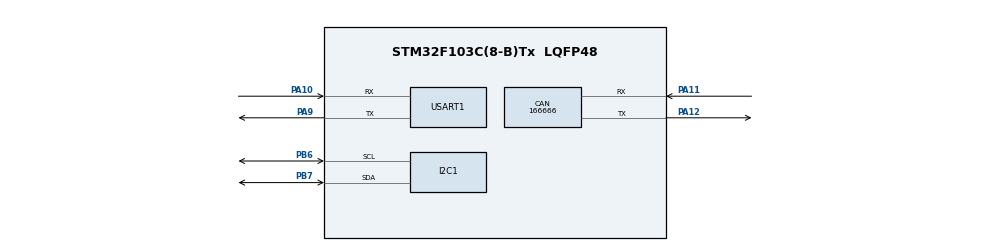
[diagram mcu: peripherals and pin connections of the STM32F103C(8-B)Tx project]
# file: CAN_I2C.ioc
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CAN.CalculateBaudRate=166666
CAN.CalculateTimeBit=6000
CAN.CalculateTimeQuantum=2000.0
Dma.Request0=USART1_TX
Dma.USART1_TX.0.Direction=DMA_MEMORY_TO_PERIPH
Dma.USART1_TX.0.Instance=DMA1_Channel4
Dma.USART1_TX.0.MemDataAlignment=DMA_MDATAALIGN_BYTE
Dma.USART1_TX.0.MemInc=DMA_MINC_ENABLE
Dma.USART1_TX.0.Mode=DMA_NORMAL
Dma.USART1_TX.0.PeriphDataAlignment=DMA_PDATAALIGN_BYTE
Dma.USART1_TX.0.PeriphInc=DMA_PINC_DISABLE
Dma.USART1_TX.0.Priority=DMA_PRIORITY_LOW
I2C1.I2C_Mode=I2C_Standard
Mcu.Family=STM32F1
Mcu.Name=STM32F103C(8-B)Tx
Mcu.Package=LQFP48
NVIC.DMA1_Channel4_IRQn=true\:0\:0\:false\:false\:true\:false\:true\:true
NVIC.PriorityGroup=NVIC_PRIORITYGROUP_4
NVIC.USART1_IRQn=true\:0\:0\:false\:false\:true\:true\:true\:true
PA10.Mode=Asynchronous
PA10.Signal=USART1_RX
PA11.Mode=CAN_Activate
PA11.Signal=CAN_RX
PA12.Mode=CAN_Activate
PA12.Signal=CAN_TX
PA13.Mode=JTAG_4_pins
PA13.Signal=SYS_JTMS-SWDIO
PA14.Mode=JTAG_4_pins
PA14.Signal=SYS_JTCK-SWCLK
PA15.Mode=JTAG_4_pins
PA15.Signal=SYS_JTDI
PA9.Mode=Asynchronous
PA9.Signal=USART1_TX
PB3.Mode=JTAG_4_pins
PB3.Signal=SYS_JTDO-TRACESWO
PB6.Mode=I2C
PB6.Signal=I2C1_SCL
PB7.Mode=I2C
PB7.Signal=I2C1_SDA
ProjectManager.HeapSize=0x200
ProjectManager.StackSize=0x400
ProjectManager.TargetToolchain=CMake
RCC.APB1Freq_Value=8000000
RCC.APB2Freq_Value=8000000
USART1.VirtualMode=VM_ASYNC
board=custom

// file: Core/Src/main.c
/* USER CODE BEGIN Header */
/**
  ******************************************************************************
  * @file           : main.c
  * @brief          : Main program body
  ******************************************************************************
  * @attention
  *
  * Copyright (c) 2026 STMicroelectronics.
  * All rights reserved.
  *
  * This software is licensed under terms that can be found in the LICENSE file
  * in the root directory of this software component.
  * If no LICENSE file comes with this software, it is provided AS-IS.
  *
  ******************************************************************************
  */
/* USER CODE END Header */
#include "main.h"

/* USER CODE BEGIN Includes */
#include "icm20948.h"
#include "stm32f1xx_hal_uart.h"
#include <stdio.h>
#include <string.h>
/* USER CODE END Includes */

CAN_HandleTypeDef hcan;

I2C_HandleTypeDef hi2c1;

UART_HandleTypeDef huart1;
DMA_HandleTypeDef hdma_usart1_tx;

void SystemClock_Config(void);
static void MX_GPIO_Init(void);
static void MX_DMA_Init(void);
static void MX_CAN_Init(void);
static void MX_I2C1_Init(void);
static void MX_USART1_UART_Init(void);
/* USER CODE BEGIN PFP */
void init_icm20948()
{
   //whoami
    uint8_t who_am_i=0x00;
    HAL_I2C_Mem_Read(
      &hi2c1,
      ICM20948_ADDR_HAL,
      ICM_REG_WHO_AM_I,
      I2C_MEMADD_SIZE_8BIT,
      &who_am_i,
      sizeof(who_am_i),
      2); //who_am_i will be 0xEA

    //reset
    uint8_t reset=ICM_PWR_DEVICE_RESET;
    HAL_I2C_Mem_Write(
      &hi2c1,
      ICM20948_ADDR_HAL,
      ICM_REG_PWR_MGMT_1,
      I2C_MEMADD_SIZE_8BIT,
      &reset,
      sizeof(reset),
      1);
    HAL_Delay(5);

    //wakeup&select tim
    uint8_t pwr=ICM_CLKSEL_AUTO;
    HAL_I2C_Mem_Write(
      &hi2c1,
      ICM20948_ADDR_HAL,
      ICM_REG_PWR_MGMT_1,
      I2C_MEMADD_SIZE_8BIT,
      &pwr,
      sizeof(pwr),
      1);
    HAL_Delay(5);

    //switch to bank2
    uint8_t bank2=ICM_BANK_2;
    HAL_I2C_Mem_Write(
      &hi2c1,
      ICM20948_ADDR_HAL,
      ICM_REG_REG_BANK_SEL,
      I2C_MEMADD_SIZE_8BIT,
      &bank2,sizeof(bank2),
      1);

    //setup gyroscope&accelerometer
    uint8_t gyro_cfg=ICM_GYRO_FS_2000DPS        // 量程 ±2000dps
         | ICM_GYRO_DLPF_BW_51HZ      // 带宽 51.2Hz
         | ICM_GYRO_FCHOICE_ENABLE;   // 启用 DLPF
    HAL_I2C_Mem_Write(
      &hi2c1,
      ICM20948_ADDR_HAL,
      ICM_REG_GYRO_CONFIG_1,
      I2C_MEMADD_SIZE_8BIT,
      &gyro_cfg,
      sizeof(gyro_cfg),
      1);
      HAL_Delay(1);
    uint8_t accel_cfg= ICM_ACCEL_FS_4G               // 量程 ±4g
          | ICM_ACCEL_DLPF_BW_50HZ        // 带宽 50.4Hz
          | ICM_ACCEL_FCHOICE_ENABLE;     // 启用 DLPF
    HAL_I2C_Mem_Write(
      &hi2c1,
      ICM20948_ADDR_HAL,
      ICM_REG_ACCEL_CONFIG,
      I2C_MEMADD_SIZE_8BIT,
      &accel_cfg,
      sizeof(accel_cfg),
      1);

    //switch back to bank0
    uint8_t bank0=ICM_BANK_0;
    HAL_I2C_Mem_Write(
      &hi2c1,
      ICM20948_ADDR_HAL,
      ICM_REG_REG_BANK_SEL,
      I2C_MEMADD_SIZE_8BIT,
      &bank0,
      sizeof(bank0),
      1);
}

void read_icm20948_data_arr(int16_t *arr)
{
  uint8_t raw[14];
  HAL_I2C_Mem_Read(
    &hi2c1,
    ICM20948_ADDR_HAL,
    ICM_REG_ACCEL_XOUT_H,
    I2C_MEMADD_SIZE_8BIT,
    raw,
    sizeof(raw),
    2);

    for (uint8_t i = 0; i < 7; i++)
    {
        arr[i] = (int16_t)((raw[2*i] << 8) | raw[2*i + 1]);
    }
}
/* USER CODE END PFP */

int main(void)
{

  /* MCU Configuration--------------------------------------------------------*/

  /* Reset of all peripherals, Initializes the Flash interface and the Systick. */
  HAL_Init();

  /* Configure the system clock */
  SystemClock_Config();

  /* Initialize all configured peripherals */
  MX_GPIO_Init();
  MX_DMA_Init();
  MX_CAN_Init();
  MX_I2C1_Init();
  MX_USART1_UART_Init();
  /* USER CODE BEGIN 2 */
  init_icm20948();
  HAL_Delay(1);
  /* USER CODE END 2 */

  /* Infinite loop */
  /* USER CODE BEGIN WHILE */
  while (1)
  {
    int16_t data_raw[7];
    read_icm20948_data_arr(data_raw);

    float data[7];
    for(uint8_t i=0;i<7;i++)
    {
      if(i>=0 && i<=2)
      {
        data[i] = data_raw[i] / 8192.0f;
      }
      else if(i>2 && i<=5)
      {
        data[i] = data_raw[i] / 16.4f;
      }
      else
      {
        data[i] = data_raw[i] / 333.87f + 21.0f;
      }
    }

    printf("ax=%.3f ay=%.3f az=%.3f gx=%.2f gy=%.2f gz=%.2f T=%.2f\r\n",
      data[0],data[1],data[2],data[3],data[4],data[5],data[6]);

    HAL_Delay(20);
    // ±4g → 8192 LSB/g
    // ±2000dps → 16.4 LSB/(°/s)
    // 温度 → 温度(°C) = raw/333.87 + 21

    // float ax_g = ax / 8192.0f;
    // float ay_g = ay / 8192.0f;
    // float az_g = az / 8192.0f;

    // float gx_dps = gx / 16.4f;
    // float gy_dps = gy / 16.4f;
    // float gz_dps = gz / 16.4f;

    // float temp_c = temp / 333.87f + 21.0f;

    //float temp_c = 25.5f;

    /* USER CODE END WHILE */

  }
}

void SystemClock_Config(void)
{
  RCC_OscInitTypeDef RCC_OscInitStruct = {0};
  RCC_ClkInitTypeDef RCC_ClkInitStruct = {0};

  /** Initializes the RCC Oscillators according to the specified parameters
  * in the RCC_OscInitTypeDef structure.
  */
  RCC_OscInitStruct.OscillatorType = RCC_OSCILLATORTYPE_HSI;
  RCC_OscInitStruct.HSIState = RCC_HSI_ON;
  RCC_OscInitStruct.HSICalibrationValue = RCC_HSICALIBRATION_DEFAULT;
  RCC_OscInitStruct.PLL.PLLState = RCC_PLL_NONE;
  if (HAL_RCC_OscConfig(&RCC_OscInitStruct) != HAL_OK)
  {
    Error_Handler();
  }

  /** Initializes the CPU, AHB and APB buses clocks
  */
  RCC_ClkInitStruct.ClockType = RCC_CLOCKTYPE_HCLK|RCC_CLOCKTYPE_SYSCLK
                              |RCC_CLOCKTYPE_PCLK1|RCC_CLOCKTYPE_PCLK2;
  RCC_ClkInitStruct.SYSCLKSource = RCC_SYSCLKSOURCE_HSI;
  RCC_ClkInitStruct.AHBCLKDivider = RCC_SYSCLK_DIV1;
  RCC_ClkInitStruct.APB1CLKDivider = RCC_HCLK_DIV1;
  RCC_ClkInitStruct.APB2CLKDivider = RCC_HCLK_DIV1;

  if (HAL_RCC_ClockConfig(&RCC_ClkInitStruct, FLASH_LATENCY_0) != HAL_OK)
  {
    Error_Handler();
  }
}

static void MX_CAN_Init(void)
{

  hcan.Instance = CAN1;
  hcan.Init.Prescaler = 16;
  hcan.Init.Mode = CAN_MODE_NORMAL;
  hcan.Init.SyncJumpWidth = CAN_SJW_1TQ;
  hcan.Init.TimeSeg1 = CAN_BS1_1TQ;
  hcan.Init.TimeSeg2 = CAN_BS2_1TQ;
  hcan.Init.TimeTriggeredMode = DISABLE;
  hcan.Init.AutoBusOff = DISABLE;
  hcan.Init.AutoWakeUp = DISABLE;
  hcan.Init.AutoRetransmission = DISABLE;
  hcan.Init.ReceiveFifoLocked = DISABLE;
  hcan.Init.TransmitFifoPriority = DISABLE;
  if (HAL_CAN_Init(&hcan) != HAL_OK)
  {
    Error_Handler();
  }

}

static void MX_I2C1_Init(void)
{

  hi2c1.Instance = I2C1;
  hi2c1.Init.ClockSpeed = 100000;
  hi2c1.Init.DutyCycle = I2C_DUTYCYCLE_2;
  hi2c1.Init.OwnAddress1 = 0;
  hi2c1.Init.AddressingMode = I2C_ADDRESSINGMODE_7BIT;
  hi2c1.Init.DualAddressMode = I2C_DUALADDRESS_DISABLE;
  hi2c1.Init.OwnAddress2 = 0;
  hi2c1.Init.GeneralCallMode = I2C_GENERALCALL_DISABLE;
  hi2c1.Init.NoStretchMode = I2C_NOSTRETCH_DISABLE;
  if (HAL_I2C_Init(&hi2c1) != HAL_OK)
  {
    Error_Handler();
  }

}

static void MX_USART1_UART_Init(void)
{

  huart1.Instance = USART1;
  huart1.Init.BaudRate = 115200;
  huart1.Init.WordLength = UART_WORDLENGTH_8B;
  huart1.Init.StopBits = UART_STOPBITS_1;
  huart1.Init.Parity = UART_PARITY_NONE;
  huart1.Init.Mode = UART_MODE_TX_RX;
  huart1.Init.HwFlowCtl = UART_HWCONTROL_NONE;
  huart1.Init.OverSampling = UART_OVERSAMPLING_16;
  if (HAL_UART_Init(&huart1) != HAL_OK)
  {
    Error_Handler();
  }

}

static void MX_DMA_Init(void)
{

  /* DMA controller clock enable */
  __HAL_RCC_DMA1_CLK_ENABLE();

  /* DMA interrupt init */
  /* DMA1_Channel4_IRQn interrupt configuration */
  HAL_NVIC_SetPriority(DMA1_Channel4_IRQn, 0, 0);
  HAL_NVIC_EnableIRQ(DMA1_Channel4_IRQn);

}

static void MX_GPIO_Init(void)
{

  /* GPIO Ports Clock Enable */
  __HAL_RCC_GPIOA_CLK_ENABLE();
  __HAL_RCC_GPIOB_CLK_ENABLE();

}

/* USER CODE BEGIN 4 */
int _write(int fd, char *ptr, int len)
{
    HAL_UART_Transmit(&huart1, (uint8_t *)ptr, len, HAL_MAX_DELAY);
    return len;
}
/* USER CODE END 4 */

void Error_Handler(void)
{
  __disable_irq();
  while (1)
  {
  }
}
